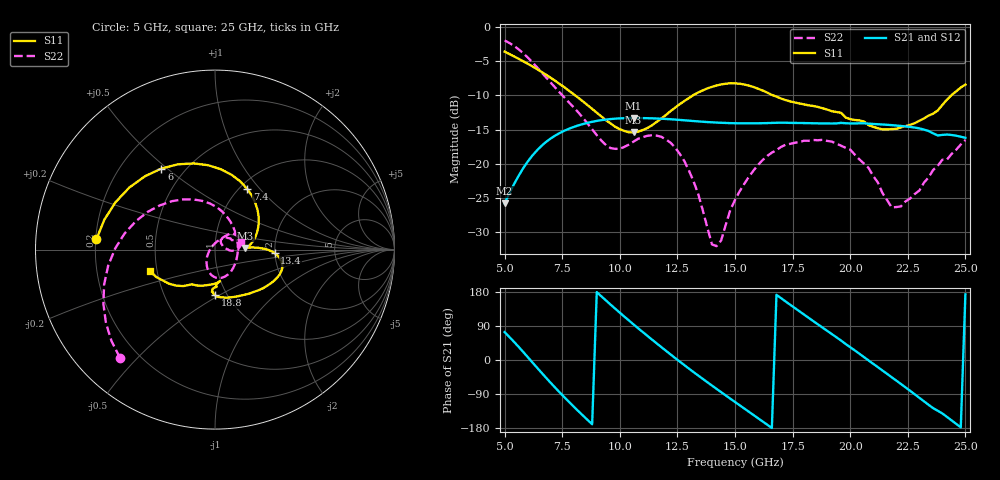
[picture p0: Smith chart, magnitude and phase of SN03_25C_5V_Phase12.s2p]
!File name = SN03_25C_5V_Phase12.s2p
!Date = 2/3/2014
!Time = 2:35 PM
!Test duration(min) = 0.07
!Test = SPars
!MPTS version = 7.120.8
!Comments =
!set_LD1(binary) = 12
!set_LD2(binary) = 524275
!test = SPars
!date_code = 20140203
!file_name = SN03_25C_5V_Phase12.s2p
!VREF(V) = 5.000
!VREF(mA) = 0.002
# GHz  S  DB  R  50
!%	Freq(GHz)  S11(dB)  S11(deg)  S21(dB)  S21(deg)  S12(dB)  S12(deg)  S22(dB)  S22(deg)
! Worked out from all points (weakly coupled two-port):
!   101 points, 5 GHz to 25 GHz, reference 50 ohm
!   highest |S21| = -13.31 dB at 10.6 GHz (marker M1); lowest = -25.8 dB at 5 GHz (marker M2)
!   lowest |S11| = -15.4 dB at 10.6 GHz (marker M3), VSWR 1.41, Z = 70.4 + j1.21 ohm
!   |S11| at or under -10 dB: 8.069 GHz to 13.17 GHz (5.099 GHz wide, 48 % of centre); 16.67 GHz to 24.38 GHz (7.714 GHz wide, 37.6 % of centre)
!   |S22| runs from -32.1 to -1.9 dB; largest |S21 - S12| = 0.00055
!   S11 on the Smith chart (normalised r, x): 5 GHz: 0.20, +0.04; 6 GHz: 0.37, +0.48; 7.4 GHz: 1.08, +0.86; 13.4 GHz: 1.99, -0.08; 18.8 GHz: 0.88, -0.48; 25 GHz: 0.46, -0.13
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5  -3.56 175.1  -25.85 73.6  -25.85 73.6  -1.92 -131.4
5.6  -4.59 144.1  -21.85 35.3  -21.87 35.3  -3.20 -154.0
6  -5.33 123.4  -19.71 8.0  -19.73 8.0  -4.40 -171.3
6.6  -6.53 94.7  -17.41 -33.3  -17.42 -33.3  -6.59 160.2
7.4  -8.34 62.1  -15.50 -86.0  -15.52 -86.0  -9.59 122.5
8.4  -10.87 31.6  -14.19 -146.6  -14.21 -146.5  -13.29 79.7
9.6  -14.11 7.6  -13.46 146.2  -13.48 146.2  -17.72 12.8
10.6  -15.42 2.8  -13.31 93.7  -13.32 93.8  -16.76 -46.8
11.8  -13.40 3.3  -13.41 34.1  -13.43 34.2  -16.06 -87.6
12.6  -11.27 1.0  -13.59 -4.1  -13.60 -4.1  -18.56 -109.7
13.4  -9.56 -3.2  -13.80 -40.9  -13.82 -40.9  -24.42 -137.6
14  -8.73 -8.1  -13.94 -67.5  -13.95 -67.5  -31.86 169.0
14.2  -8.53 -9.8  -13.98 -76.2  -13.99 -76.2  -32.13 135.8
15  -8.21 -18.2  -14.07 -110.8  -14.09 -110.8  -25.36 69.5
16.4  -9.58 -43.1  -14.05 -170.8  -14.07 -170.8  -18.88 48.2
18.4  -11.55 -85.7  -14.08 102.5  -14.10 102.6  -16.53 23.3
18.8  -11.88 -89.9  -14.10 85.5  -14.12 85.5  -16.51 17.2
20  -13.48 -90.8  -14.11 33.8  -14.11 33.8  -17.95 -1.5
20.8  -14.35 -87.1  -14.14 -1.4  -14.14 -1.4  -20.65 -3.9
21.8  -14.93 -81.4  -14.36 -45.4  -14.37 -45.4  -26.44 24.2
23  -13.71 -104.8  -14.83 -99.8  -14.84 -99.8  -23.96 59.3
25  -8.40 -161.5  -16.22 173.2  -16.23 173.2  -16.55 17.1
